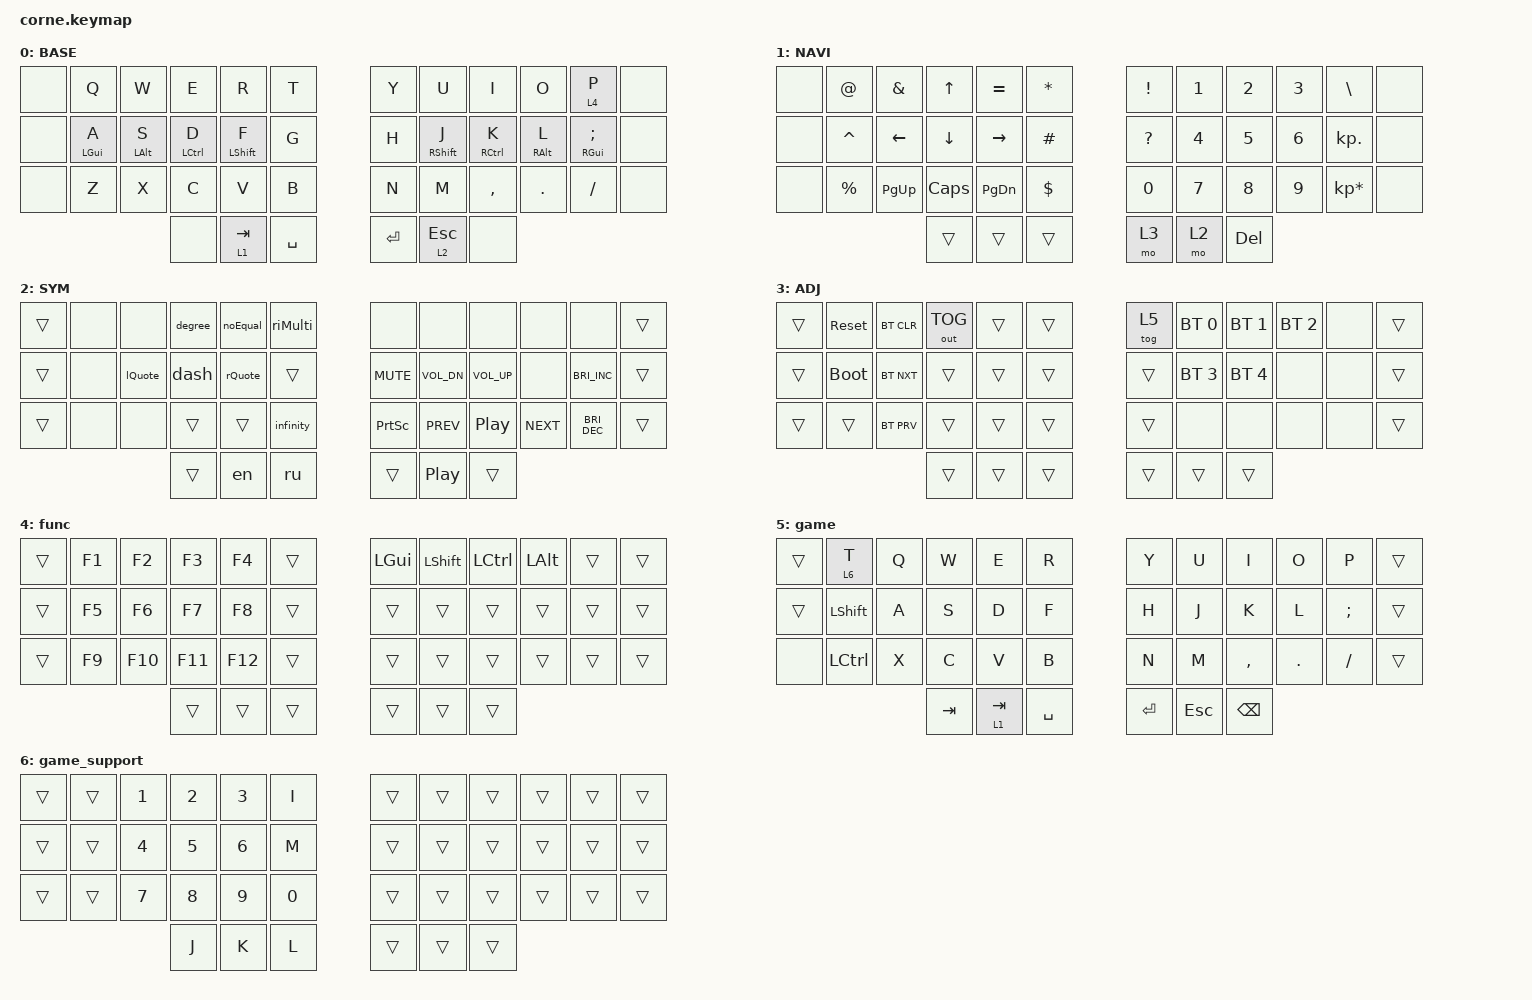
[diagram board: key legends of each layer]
/*
 * Copyright (c) 2020 The ZMK Contributors
 *
 * SPDX-License-Identifier: MIT
 */

#include <dt-bindings/zmk/behaviors.h>
#include <behaviors.dtsi>
#include <dt-bindings/zmk/bt.h>
#include <dt-bindings/zmk/keys.h>
#include <dt-bindings/zmk/outputs.h>

#define DEF 0
#define GAME 1
#define LWR 2
#define RSE 3
#define ADJ 4
#define FUNC 5
#define CONT 6

&lt { quick_tap_ms = <200>; };

&mt {
    quick-tap-ms = <100>;
    global-quick-tap;
    flavor = "tap-preferred";
    tapping-term-ms = <170>;
};

/ {
    combos {
        compatible = "zmk,combos";

        combo_tvp {
            timeout-ms = <100>;
            key-positions = <13 14 15>;
            bindings = <&tog 0>;
        };

        ParaLeft {
            bindings = <&kp LEFT_PARENTHESIS>;
            key-positions = <3 4>;
            timeout-ms = <20>;
        };

        ParaRight {
            bindings = <&kp RIGHT_PARENTHESIS>;
            key-positions = <7 8>;
            timeout-ms = <20>;
        };

        BrakLeft {
            bindings = <&kp LEFT_BRACKET>;
            key-positions = <16 15>;
            timeout-ms = <20>;
        };

        BrakRight {
            bindings = <&kp RIGHT_BRACKET>;
            key-positions = <19 20>;
            timeout-ms = <20>;
        };

        BraceLeft {
            bindings = <&kp LEFT_BRACE>;
            key-positions = <28 27>;
            timeout-ms = <20>;
        };

        BraceRight {
            bindings = <&kp RIGHT_BRACE>;
            key-positions = <32 31>;
            timeout-ms = <20>;
        };

        DoubleQuote {
            bindings = <&kp DOUBLE_QUOTES>;
            key-positions = <15 14>;
            timeout-ms = <20>;
        };

        SingleQuote {
            bindings = <&kp APOSTROPHE>;
            key-positions = <20 21>;
            timeout-ms = <20>;
        };

        TildaSign {
            bindings = <&kp TILDE>;
            key-positions = <22 21>;
            timeout-ms = <20>;
        };

        GraveSign {
            bindings = <&kp GRAVE>;
            key-positions = <13 14>;
            timeout-ms = <20>;
        };

        MinusSign {
            bindings = <&kp MINUS>;
            key-positions = <2 3>;
            timeout-ms = <20>;
        };

        PlusSign {
            bindings = <&kp PLUS>;
            key-positions = <1 2>;
            timeout-ms = <20>;
        };

        UnderscoreSign {
            bindings = <&kp UNDERSCORE>;
            key-positions = <8 9>;
            timeout-ms = <20>;
        };

        PipeSign {
            bindings = <&kp PIPE>;
            key-positions = <9 10>;
            timeout-ms = <20>;
        };

        LessThan {
            bindings = <&kp LESS_THAN>;
            key-positions = <26 27>;
        };

        GreatThan {
            bindings = <&kp GREATER_THAN>;
            key-positions = <32 33>;
        };

        delete_combo {
            bindings = <&kp DELETE>;
            key-positions = <19 20 21>;
            layers = <2 6>;
        };

        enter_combo {
            bindings = <&kp ENTER>;
            key-positions = <15 16 14>;
            layers = <0 3 5 6>;
        };

        backspase_combo {
            bindings = <&kp BACKSPACE>;
            key-positions = <19 20 21>;
            layers = <0 5>;
        };
    };

    macros {
        dash: dash {
            compatible = "zmk,behavior-macro";
            #binding-cells = <0>;
            bindings =
                <&en>,
                <&macro_tap>,
                <&kp LC(LS(U)) &kp N2 &kp N0 &kp N1 &kp N4 &kp ENTER &ru>;

            label = "DASH";
        };

        ru: ru {
            compatible = "zmk,behavior-macro";
            #binding-cells = <0>;
            bindings = <&kp LG(LC(F6))>;
            label = "RU";
        };

        en: en {
            compatible = "zmk,behavior-macro";
            #binding-cells = <0>;
            bindings = <&kp LC(LG(F5))>;
            label = "EN";
        };

        rQuote: rQuote {
            compatible = "zmk,behavior-macro";
            #binding-cells = <0>;
            bindings =
                <&en>,
                <&macro_tap>,
                <&kp LC(LS(U)) &kp N0 &kp N0 &kp B &kp B &kp ENTER &ru>;

            label = "RQUOTE";
        };

        lQuote: lQuote {
            compatible = "zmk,behavior-macro";
            #binding-cells = <0>;
            bindings =
                <&en>,
                <&macro_tap>,
                <&kp LC(LS(U)) &kp N0 &kp N0 &kp A &kp B &kp ENTER &ru>;

            label = "LQUOTE";
        };

        riMulti: riMulti {
            compatible = "zmk,behavior-macro";
            #binding-cells = <0>;
            bindings =
                <&en>,
                <&macro_tap>,
                <&kp LC(LS(U)) &kp N0 &kp N0 &kp D &kp N7 &kp ENTER &ru>;

            label = "RIMULTI";
        };

        plus_minus: plus_minus {
            compatible = "zmk,behavior-macro";
            #binding-cells = <0>;
            bindings =
                <&en>,
                <&macro_tap>,
                <&kp LC(LS(U)) &kp N0 &kp N0 &kp B &kp N1 &kp RET &ru>;

            label = "PLUS_MINUS";
        };

        degree: degree {
            compatible = "zmk,behavior-macro";
            #binding-cells = <0>;
            bindings =
                <&en>,
                <&macro_tap>,
                <&kp LC(LS(U)) &kp N0 &kp N0 &kp B &kp N0 &kp RET &ru>;

            label = "DEGREE";
        };

        noEqual: noEqual {
            compatible = "zmk,behavior-macro";
            #binding-cells = <0>;
            bindings =
                <&en>,
                <&macro_tap>,
                <&kp LC(LS(U)) &kp N2 &kp N2 &kp N6 &kp N0 &kp RET &ru>;

            label = "NOEQUAL";
        };

        infinity: infinity {
            compatible = "zmk,behavior-macro";
            #binding-cells = <0>;
            bindings =
                <&en>,
                <&macro_tap>,
                <&kp LC(LS(U)) &kp N2 &kp N2 &kp N1 &kp E &kp RET &ru>;

            label = "INFINITY";
        };
    };

    keymap {
        compatible = "zmk,keymap";

        // ▄▄▄▄▄▄▄▄▄▄▄▄▄▄▄▄▄▄▄▄▄▄▄▄▄▄▄▄▄▄▄▄▄▄▄▄▄▄▄▄▄▄▄▄▄▄▄▄▄▄▄▄▄▄▄▄▄▄▄▄▄▄▄▄▄▄▄▄▄▄▄▄▄▄▄▄▄▄▄▄▄▄▄▄▄▄▄▄▄▄▄▄▄▄▄▄▄▄▄▄▄▄▄▄▄▄▄▄▄▄▄▄▄▄▄▄▄▄▄▄▄▄▄▄▄▄▄▄▄▄▄▄▄▄▄▄▄▄▄▄▄▄▄▄▄▄▄▄▄

        base_layer {
            // ┏━━━━━━━━━━━━━━━━━━━━━━━━━━━━━━━━━━━━━━━┓

            label = "BASE";

            // ┗━━━━━━━━━━━━━━━━━━━━━━━━━━━━━━━━━━━━━━━┛
            //             ┏━━━━━━━━━━━┳━━━━━━━━━━━┳━━━━━━━━━━━┳━━━━━━━━━━━┳━━━━━━━━━━━┓   ┏━━━━━━━━━━━┳━━━━━━━━━━━┳━━━━━━━━━━━┳━━━━━━━━━━━┳━━━━━━━━━━━┓
            //             ┃     Q     ┃     W     ┃     F     ┃     P     ┃     G     ┃   ┃     J     ┃     L     ┃     U     ┃     Y     ┃     ;     ┃
            //             ┣━━━━━━━━━━━╋━━━━━━━━━━━╋━━━━━━━━━━━╋━━━━━━━━━━━╋━━━━━━━━━━━┫   ┣━━━━━━━━━━━╋━━━━━━━━━━━╋━━━━━━━━━━━╋━━━━━━━━━━━╋━━━━━━━━━━━┫
            //             ┃     A     ┃     R     ┃     S     ┃     T     ┃     D     ┃   ┃     H     ┃     N     ┃     E     ┃     I     ┃     O     ┃
            // ┏━━━━━━━━━━━╋━━━━━━━━━━━╋━━━━━━━━━━━╋━━━━━━━━━━━╋━━━━━━━━━━━╋━━━━━━━━━━━┫   ┣━━━━━━━━━━━╋━━━━━━━━━━━╋━━━━━━━━━━━╋━━━━━━━━━━━╋━━━━━━━━━━━╋━━━━━━━━━━━┓
            // ┃     Q     ┃     Z     ┃     X     ┃     C     ┃     V     ┃     B     ┃   ┃     K     ┃     M     ┃     ,     ┃     .     ┃     /     ┃     \     ┃
            // ┗━━━━━━━━━━━┻━━━━━━━━━━━┻━━━━━━━━━━━╋━━━━━━━━━━━╋━━━━━━━━━━━╋━━━━━━━━━━━┫   ┣━━━━━━━━━━━╋━━━━━━━━━━━╋━━━━━━━━━━━╋━━━━━━━━━━━┻━━━━━━━━━━━┻━━━━━━━━━━━┛
            //                                     ┃    DEL    ┃    TAB    ┃    SPC    ┃   ┃   ENTER   ┃    ESC    ┃   BSPC    ┃
            //                                     ┗━━━━━━━━━━━┻━━━━━━━━━━━┻━━━━━━━━━━━┛   ┗━━━━━━━━━━━┻━━━━━━━━━━━┻━━━━━━━━━━━┛

            bindings = <
&none  &kp Q       &kp W       &kp E        &kp R        &kp T        &kp Y    &kp U        &kp I        &kp O       &lt 4 P        &none
&none  &mt LGUI A  &mt LALT S  &mt LCTRL D  &mt LSHFT F  &kp G        &kp H    &mt RSHFT J  &mt RCTRL K  &mt RALT L  &mt RGUI SEMI  &none
&none  &kp Z       &kp X       &kp C        &kp V        &kp B        &kp N    &kp M        &kp COMMA    &kp DOT     &kp FSLH       &none
                               &none        &lt 1 TAB    &kp SPACE    &kp RET  &lt 2 ESC    &none
            >;
        };

        // ▄▄▄▄▄▄▄▄▄▄▄▄▄▄▄▄▄▄▄▄▄▄▄▄▄▄▄▄▄▄▄▄▄▄▄▄▄▄▄▄▄▄▄▄▄▄▄▄▄▄▄▄▄▄▄▄▄▄▄▄▄▄▄▄▄▄▄▄▄▄▄▄▄▄▄▄▄▄▄▄▄▄▄▄▄▄▄▄▄▄▄▄▄▄▄▄▄▄▄▄▄▄▄▄▄▄▄▄▄▄▄▄▄▄▄▄▄▄▄▄▄▄▄▄▄▄▄▄▄▄▄▄▄▄▄▄▄▄▄▄▄▄▄▄▄▄▄▄▄

        nav_layer {
            // ┏━━━━━━━━━━━━━━━━━━━━━━━━━━━━━━━━━━━━━━━┓

            label = "NAVI";

            // ┗━━━━━━━━━━━━━━━━━━━━━━━━━━━━━━━━━━━━━━━┛
            //             ┏━━━━━━━━━━━┳━━━━━━━━━━━┳━━━━━━━━━━━┳━━━━━━━━━━━┳━━━━━━━━━━━┓   ┏━━━━━━━━━━━┳━━━━━━━━━━━┳━━━━━━━━━━━┳━━━━━━━━━━━┳━━━━━━━━━━━┓
            //             ┃           ┃           ┃     UP    ┃           ┃     {     ┃   ┃     }     ┃     7     ┃     8     ┃     9     ┃     +     ┃
            //             ┣━━━━━━━━━━━╋━━━━━━━━━━━╋━━━━━━━━━━━╋━━━━━━━━━━━╋━━━━━━━━━━━┫   ┣━━━━━━━━━━━╋━━━━━━━━━━━╋━━━━━━━━━━━╋━━━━━━━━━━━╋━━━━━━━━━━━┫
            //             ┃   SHIFT   ┃   LEFT    ┃    DOWN   ┃   RIGHT   ┃     [     ┃   ┃     ]     ┃     4     ┃     5     ┃     6     ┃     -     ┃
            // ┏━━━━━━━━━━━╋━━━━━━━━━━━╋━━━━━━━━━━━╋━━━━━━━━━━━╋━━━━━━━━━━━╋━━━━━━━━━━━┫   ┣━━━━━━━━━━━╋━━━━━━━━━━━╋━━━━━━━━━━━╋━━━━━━━━━━━╋━━━━━━━━━━━╋━━━━━━━━━━━┓
            // ┃           ┃           ┃   P UP    ┃  C LOCK   ┃  P DOWN   ┃     (     ┃   ┃     )     ┃     1     ┃     2     ┃     3     ┃     *     ┃           ┃
            // ┗━━━━━━━━━━━┻━━━━━━━━━━━┻━━━━━━━━━━━╋━━━━━━━━━━━╋━━━━━━━━━━━╋━━━━━━━━━━━┫   ┣━━━━━━━━━━━╋━━━━━━━━━━━╋━━━━━━━━━━━╋━━━━━━━━━━━┻━━━━━━━━━━━┻━━━━━━━━━━━┛
            //                                     ┃           ┃    TAB    ┃    SPC    ┃   ┃    DEL    ┃     0     ┃           ┃
            //                                     ┗━━━━━━━━━━━┻━━━━━━━━━━━┻━━━━━━━━━━━┛   ┗━━━━━━━━━━━┻━━━━━━━━━━━┻━━━━━━━━━━━┛

            bindings = <
&none  &kp AT       &kp AMPERSAND  &kp UP    &kp EQUAL  &kp ASTRK     &kp EXCL   &kp N1  &kp N2   &kp N3  &kp BACKSLASH    &none
&none  &kp CARET    &kp LEFT       &kp DOWN  &kp RIGHT  &kp HASH      &kp QMARK  &kp N4  &kp N5   &kp N6  &kp KP_DOT       &none
&none  &kp PERCENT  &kp PG_UP      &kp CAPS  &kp PG_DN  &kp DOLLAR    &kp N0     &kp N7  &kp N8   &kp N9  &kp KP_MULTIPLY  &none
                                   &trans    &trans     &trans        &mo 3      &mo 2   &kp DEL
            >;
        };

        // ▄▄▄▄▄▄▄▄▄▄▄▄▄▄▄▄▄▄▄▄▄▄▄▄▄▄▄▄▄▄▄▄▄▄▄▄▄▄▄▄▄▄▄▄▄▄▄▄▄▄▄▄▄▄▄▄▄▄▄▄▄▄▄▄▄▄▄▄▄▄▄▄▄▄▄▄▄▄▄▄▄▄▄▄▄▄▄▄▄▄▄▄▄▄▄▄▄▄▄▄▄▄▄▄▄▄▄▄▄▄▄▄▄▄▄▄▄▄▄▄▄▄▄▄▄▄▄▄▄▄▄▄▄▄▄▄▄▄▄▄▄▄▄▄▄▄▄▄▄

        sym_layer {
            // ┏━━━━━━━━━━━━━━━━━━━━━━━━━━━━━━━━━━━━━━━┓

            label = "SYM";

            // ┗━━━━━━━━━━━━━━━━━━━━━━━━━━━━━━━━━━━━━━━┛
            //             ┏━━━━━━━━━━━┳━━━━━━━━━━━┳━━━━━━━━━━━┳━━━━━━━━━━━┳━━━━━━━━━━━┓   ┏━━━━━━━━━━━┳━━━━━━━━━━━┳━━━━━━━━━━━┳━━━━━━━━━━━┳━━━━━━━━━━━┓
            //             ┃     !     ┃     @     ┃     #     ┃     $     ┃     %     ┃   ┃     ˆ     ┃     &     ┃     Ü     ┃     '     ┃     "     ┃
            //             ┣━━━━━━━━━━━╋━━━━━━━━━━━╋━━━━━━━━━━━╋━━━━━━━━━━━╋━━━━━━━━━━━┫   ┣━━━━━━━━━━━╋━━━━━━━━━━━╋━━━━━━━━━━━╋━━━━━━━━━━━╋━━━━━━━━━━━┫
            //             ┃     Ä     ┃           ┃    SZ     ┃           ┃           ┃   ┃   MUTE    ┃   YEN     ┃   EURO    ┃  POUND    ┃     Ö     ┃
            // ┏━━━━━━━━━━━╋━━━━━━━━━━━╋━━━━━━━━━━━╋━━━━━━━━━━━╋━━━━━━━━━━━╋━━━━━━━━━━━┫   ┣━━━━━━━━━━━╋━━━━━━━━━━━╋━━━━━━━━━━━╋━━━━━━━━━━━╋━━━━━━━━━━━╋━━━━━━━━━━━┓
            // ┃           ┃  EMAIL1   ┃  EMAIL2   ┃           ┃           ┃           ┃   ┃   VOL-    ┃   VOL+    ┃   LAST    ┃   NEXT    ┃     \     ┃           ┃
            // ┗━━━━━━━━━━━┻━━━━━━━━━━━┻━━━━━━━━━━━╋━━━━━━━━━━━╋━━━━━━━━━━━╋━━━━━━━━━━━┫   ┣━━━━━━━━━━━╋━━━━━━━━━━━╋━━━━━━━━━━━╋━━━━━━━━━━━┻━━━━━━━━━━━┻━━━━━━━━━━━┛
            //                                     ┃           ┃    GIF    ┃    ADJ    ┃   ┃           ┃           ┃           ┃
            //                                     ┗━━━━━━━━━━━┻━━━━━━━━━━━┻━━━━━━━━━━━┛   ┗━━━━━━━━━━━┻━━━━━━━━━━━┻━━━━━━━━━━━┛
            //           ---------------------------------------------.       .--------------------------------------------
            //           |    *   |    1   |    2   |    3   |    *   |       |    ?   |   @    |   ^    |   :    |       |
            //           +--------+--------+--------+--------+--------|       |--------+--------+--------+--------+--------
            //           |    /   |    4   |    5   |    6   |    =   |       |    !   |   %    |   &    |   ;    |        |
            // |---------+--------+--------+--------+--------+--------|       |--------+--------+--------+--------+--------+--------|
            // |   /     |    =   |    7   |    8   |    9   |    0   |       |    $   |   #    |   _    |   <    |    >   |    \   |
            // '---------------------------+--------+--------+--------+       |-------+---------+--------+--------------------------'
            //                             |        |   ADJ  |  **    |       |        |        |   DEL  |
            //                             '--------+--------+--------'       '--------+--------+--------'

            bindings = <
&trans  &none  &none    &degree  &noEqual  &riMulti     &none            &none         &none             &none       &none                 &trans
&trans  &none  &lQuote  &dash    &rQuote   &trans       &kp C_MUTE       &kp C_VOL_DN  &kp C_VOL_UP      &none       &kp C_BRIGHTNESS_INC  &trans
&trans  &none  &none    &trans   &trans    &infinity    &kp PRINTSCREEN  &kp C_PREV    &kp C_PLAY_PAUSE  &kp K_NEXT  &kp C_BRIGHTNESS_DEC  &trans
                        &trans   &en       &ru          &trans           &kp C_PP      &trans
            >;
        };

        // ▄▄▄▄▄▄▄▄▄▄▄▄▄▄▄▄▄▄▄▄▄▄▄▄▄▄▄▄▄▄▄▄▄▄▄▄▄▄▄▄▄▄▄▄▄▄▄▄▄▄▄▄▄▄▄▄▄▄▄▄▄▄▄▄▄▄▄▄▄▄▄▄▄▄▄▄▄▄▄▄▄▄▄▄▄▄▄▄▄▄▄▄▄▄▄▄▄▄▄▄▄▄▄▄▄▄▄▄▄▄▄▄▄▄▄▄▄▄▄▄▄▄▄▄▄▄▄▄▄▄▄▄▄▄▄▄▄▄▄▄▄▄▄▄▄▄▄▄▄

        adjust_layer {
            // ┏━━━━━━━━━━━━━━━━━━━━━━━━━━━━━━━━━━━━━━━┓

            label = "ADJ";

            // ┗━━━━━━━━━━━━━━━━━━━━━━━━━━━━━━━━━━━━━━━┛
            //             ┏━━━━━━━━━━━┳━━━━━━━━━━━┳━━━━━━━━━━━┳━━━━━━━━━━━┳━━━━━━━━━━━┓   ┏━━━━━━━━━━━┳━━━━━━━━━━━┳━━━━━━━━━━━┳━━━━━━━━━━━┳━━━━━━━━━━━┓
            //             ┃   RESET   ┃ BT CLEAR  ┃  OUT TOG  ┃           ┃           ┃   ┃           ┃    F7     ┃    F8     ┃    F9     ┃    F12    ┃
            //             ┣━━━━━━━━━━━╋━━━━━━━━━━━╋━━━━━━━━━━━╋━━━━━━━━━━━╋━━━━━━━━━━━┫   ┣━━━━━━━━━━━╋━━━━━━━━━━━╋━━━━━━━━━━━╋━━━━━━━━━━━╋━━━━━━━━━━━┫
            //             ┃ BOOTLOAD  ┃ BT NEXT   ┃           ┃           ┃           ┃   ┃           ┃    F4     ┃    F5     ┃    F6     ┃    F11    ┃
            // ┏━━━━━━━━━━━╋━━━━━━━━━━━╋━━━━━━━━━━━╋━━━━━━━━━━━╋━━━━━━━━━━━╋━━━━━━━━━━━┫   ┣━━━━━━━━━━━╋━━━━━━━━━━━╋━━━━━━━━━━━╋━━━━━━━━━━━╋━━━━━━━━━━━╋━━━━━━━━━━━┓
            // ┃           ┃           ┃ BT PREV   ┃           ┃           ┃           ┃   ┃           ┃    F1     ┃    F2     ┃    F3     ┃    F10    ┃           ┃
            // ┗━━━━━━━━━━━┻━━━━━━━━━━━┻━━━━━━━━━━━╋━━━━━━━━━━━╋━━━━━━━━━━━╋━━━━━━━━━━━┫   ┣━━━━━━━━━━━╋━━━━━━━━━━━╋━━━━━━━━━━━╋━━━━━━━━━━━┻━━━━━━━━━━━┻━━━━━━━━━━━┛
            //                                     ┃           ┃           ┃           ┃   ┃           ┃           ┃           ┃
            //                                     ┗━━━━━━━━━━━┻━━━━━━━━━━━┻━━━━━━━━━━━┛   ┗━━━━━━━━━━━┻━━━━━━━━━━━┻━━━━━━━━━━━┛

            bindings = <
&trans  &sys_reset   &bt BT_CLR  &out OUT_TOG  &trans  &trans    &tog 5  &bt BT_SEL 0  &bt BT_SEL 1  &bt BT_SEL 2  &none  &trans
&trans  &bootloader  &bt BT_NXT  &trans        &trans  &trans    &trans  &bt BT_SEL 3  &bt BT_SEL 4  &none         &none  &trans
&trans  &trans       &bt BT_PRV  &trans        &trans  &trans    &trans  &none         &none         &none         &none  &trans
                                 &trans        &trans  &trans    &trans  &trans        &trans
            >;
        };

        // ▄▄▄▄▄▄▄▄▄▄▄▄▄▄▄▄▄▄▄▄▄▄▄▄▄▄▄▄▄▄▄▄▄▄▄▄▄▄▄▄▄▄▄▄▄▄▄▄▄▄▄▄▄▄▄▄▄▄▄▄▄▄▄▄▄▄▄▄▄▄▄▄▄▄▄▄▄▄▄▄▄▄▄▄▄▄▄▄▄▄▄▄▄▄▄▄▄▄▄▄▄▄▄▄▄▄▄▄▄▄▄▄▄▄▄▄▄▄▄▄▄▄▄▄▄▄▄▄▄▄▄▄▄▄▄▄▄▄▄▄▄▄▄▄▄▄▄▄▄
        // ▄▄▄▄▄▄▄▄▄▄▄▄▄▄▄▄▄▄▄▄▄▄▄▄▄▄▄▄▄▄▄▄▄▄▄▄▄▄▄▄▄▄▄▄▄▄▄▄▄▄▄▄▄▄▄▄▄▄▄▄▄▄▄▄▄▄▄▄▄▄▄▄▄▄▄▄▄▄▄▄▄▄▄▄▄▄▄▄▄▄▄▄▄▄▄▄▄▄▄▄▄▄▄▄▄▄▄▄▄▄▄▄▄▄▄▄▄▄▄▄▄▄▄▄▄▄▄▄▄▄▄▄▄▄▄▄▄▄▄▄▄▄▄▄▄▄▄▄▄

        func {
            bindings = <
&trans  &kp F1  &kp F2   &kp F3   &kp F4   &trans    &kp LGUI  &kp LEFT_SHIFT  &kp LCTRL  &kp LALT  &trans  &trans
&trans  &kp F5  &kp F6   &kp F7   &kp F8   &trans    &trans    &trans          &trans     &trans    &trans  &trans
&trans  &kp F9  &kp F10  &kp F11  &kp F12  &trans    &trans    &trans          &trans     &trans    &trans  &trans
                         &trans   &trans   &trans    &trans    &trans          &trans
            >;
        };

        game {
            bindings = <
&trans  &lt 6 T    &kp Q  &kp W    &kp E      &kp R        &kp Y    &kp U    &kp I      &kp O    &kp P     &trans
&trans  &kp LSHFT  &kp A  &kp S    &kp D      &kp F        &kp H    &kp J    &kp K      &kp L    &kp SEMI  &trans
&none   &kp LCTRL  &kp X  &kp C    &kp V      &kp B        &kp N    &kp M    &kp COMMA  &kp DOT  &kp FSLH  &trans
                          &kp TAB  &lt 1 TAB  &kp SPACE    &kp RET  &kp ESC  &kp BSPC
            >;
        };

        game_support {
            bindings = <
&trans  &trans  &kp N1  &kp N2  &kp N3  &kp I     &trans  &trans  &trans  &trans  &trans  &trans
&trans  &trans  &kp N4  &kp N5  &kp N6  &kp M     &trans  &trans  &trans  &trans  &trans  &trans
&trans  &trans  &kp N7  &kp N8  &kp N9  &kp N0    &trans  &trans  &trans  &trans  &trans  &trans
                        &kp J   &kp K   &kp L     &trans  &trans  &trans
            >;
        };
    };
};
